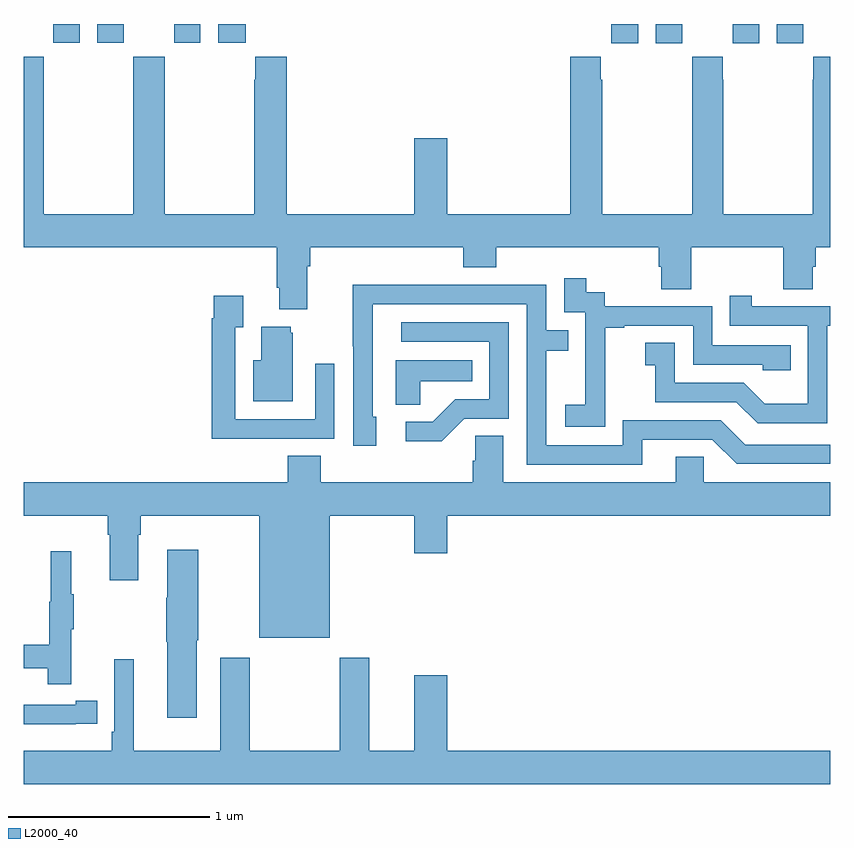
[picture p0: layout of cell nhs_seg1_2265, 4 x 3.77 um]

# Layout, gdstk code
import gdstk
lib = gdstk.Library(unit=1e-6, precision=1e-09)
def R(c, l, rs):  # rectangles x0, y0, x1, y1
    for r in rs: c.add(gdstk.rectangle(r[:2], r[2:], *l))
def P(c, l, *ps):  # polygons
    for p in ps: c.add(gdstk.Polygon(p, *l))
L2000_40 = (2000, 40)

nhs_seg1_2265 = lib.new_cell('nhs_seg1_2265')
R(nhs_seg1_2265, L2000_40, [(237.914,526.104,238.048,526.199), (238.136,526.104,238.266,526.199), (238.518,526.104,238.648,526.199), (238.736,526.104,238.866,526.199), (235.145,526.107,235.276,526.199), (235.364,526.107,235.495,526.199), (235.745,526.107,235.876,526.199), (235.964,526.107,236.101,526.199)])
P(nhs_seg1_2265, L2000_40, [(237.87,525.923),(237.863,525.923),(237.863,526.036),(237.71,526.036),(237.71,525.256),(237.1,525.256),(237.1,525.631),(236.936,525.631),(236.936,525.256),(236.303,525.256),(236.303,526.036),(236.147,526.036),(236.147,525.923),(236.143,525.923),(236.143,525.256),(235.698,525.256),(235.698,526.036),(235.543,526.036),(235.543,525.256),(235.098,525.256),(235.098,526.036),(235,526.036),(235,525.092),(236.255,525.092),(236.255,524.89),(236.267,524.89),(236.267,524.783),(236.407,524.783),(236.407,524.996),(236.42,524.996),(236.42,525.092),(237.179,525.092),(237.179,524.993),(237.344,524.993),(237.344,525.092),(238.151,525.092),(238.151,524.994),(238.163,524.994),(238.163,524.884),(238.311,524.884),(238.311,525.092),(238.768,525.092),(238.768,524.884),(238.915,524.884),(238.915,524.994),(238.928,524.994),(238.928,525.092),(239,525.092),(239,526.036),(238.917,526.036),(238.917,525.923),(238.915,525.923),(238.915,525.256),(238.47,525.256),(238.47,525.923),(238.467,525.923),(238.467,526.036),(238.317,526.036),(238.317,525.923),(238.315,525.923),(238.315,525.256),(237.87,525.256)],
  [(237.885,524.407),(237.884,524.407),(237.884,524.691),(237.979,524.691),(237.979,524.703),(238.32,524.703),(238.32,524.508),(238.665,524.508),(238.665,524.481),(238.805,524.481),(238.805,524.604),(238.416,524.604),(238.416,524.799),(237.882,524.799),(237.882,524.868),(237.79,524.868),(237.79,524.938),(237.681,524.938),(237.681,524.769),(237.786,524.769),(237.786,524.54),(237.785,524.54),(237.785,524.311),(237.687,524.311),(237.687,524.201),(237.885,524.201)],
  [(238.069,524.136),(238.416,524.136),(238.536,524.016),(239,524.016),(239,524.112),(238.578,524.112),(238.458,524.232),(237.972,524.232),(237.972,524.109),(237.591,524.109),(237.591,524.578),(237.701,524.578),(237.701,524.679),(237.591,524.679),(237.591,524.904),(237.095,524.904),(237.095,524.906),(236.632,524.906),(236.632,524.599),(236.634,524.599),(236.634,524.106),(236.749,524.106),(236.749,524.25),(236.73,524.25),(236.73,524.808),(237.495,524.808),(237.495,524.013),(238.069,524.013)],
  [(236.225,524.142),(236.541,524.142),(236.541,524.512),(236.445,524.512),(236.445,524.238),(236.049,524.238),(236.049,524.695),(236.089,524.695),(236.089,524.851),(235.941,524.851),(235.941,524.738),(235.933,524.738),(235.933,524.141),(236.225,524.141)],
  [(238.986,524.703),(239,524.703),(239,524.799),(238.612,524.799),(238.612,524.851),(238.501,524.851),(238.501,524.703),(238.89,524.703),(238.89,524.314),(238.676,524.314),(238.572,524.418),(238.23,524.418),(238.23,524.617),(238.083,524.617),(238.083,524.507),(238.132,524.507),(238.132,524.322),(238.535,524.322),(238.64,524.217),(238.986,524.217)],
  [(237.186,524.241),(237.405,524.241),(237.405,524.718),(236.871,524.718),(236.871,524.622),(237.309,524.622),(237.309,524.337),(237.14,524.337),(237.029,524.226),(236.895,524.226),(236.895,524.129),(237.073,524.129)],
  [(236.335,524.667),(236.324,524.667),(236.324,524.698),(236.177,524.698),(236.177,524.53),(236.138,524.53),(236.138,524.327),(236.335,524.327)],
  [(236.967,524.426),(237.224,524.426),(237.224,524.53),(236.846,524.53),(236.846,524.311),(236.967,524.311)],
  [(236.518,523.76),(236.936,523.76),(236.936,523.572),(237.1,523.572),(237.1,523.76),(239,523.76),(239,523.924),(238.374,523.924),(238.374,524.051),(238.235,524.051),(238.235,523.924),(237.379,523.924),(237.379,524.156),(237.24,524.156),(237.24,524.033),(237.227,524.033),(237.227,523.924),(236.474,523.924),(236.474,524.057),(236.309,524.057),(236.309,523.924),(235,523.924),(235,523.76),(235.415,523.76),(235.415,523.664),(235.427,523.664),(235.427,523.44),(235.567,523.44),(235.567,523.664),(235.58,523.664),(235.58,523.76),(236.168,523.76),(236.168,523.154),(236.518,523.154)],
  [(235.858,523.141),(235.866,523.141),(235.866,523.591),(235.712,523.591),(235.712,523.352),(235.705,523.352),(235.705,523.135),(235.712,523.135),(235.712,522.756),(235.858,522.756)],
  [(235.235,523.195),(235.246,523.195),(235.246,523.369),(235.235,523.369),(235.235,523.582),(235.132,523.582),(235.132,523.332),(235.125,523.332),(235.125,523.118),(235,523.118),(235,523.002),(235.117,523.002),(235.117,522.924),(235.235,522.924)],
  [(239,522.592),(237.1,522.592),(237.1,522.967),(236.936,522.967),(236.936,522.592),(236.713,522.592),(236.713,523.054),(236.566,523.054),(236.566,522.592),(236.121,522.592),(236.121,523.054),(235.973,523.054),(235.973,522.592),(235.546,522.592),(235.546,523.048),(235.449,523.048),(235.449,522.688),(235.436,522.688),(235.436,522.592),(235,522.592),(235,522.428),(239,522.428)],
  [(235.256,522.726),(235.364,522.726),(235.364,522.842),(235.256,522.842),(235.256,522.822),(235,522.822),(235,522.725),(235.256,522.725)])

lib.write_gds('nhs_seg1_2265.gds')
